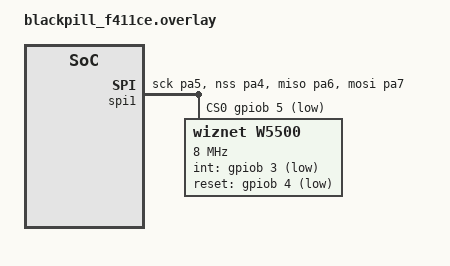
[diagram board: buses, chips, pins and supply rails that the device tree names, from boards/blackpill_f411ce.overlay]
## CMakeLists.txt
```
# SPDX-License-Identifier: Apache-2.0

cmake_minimum_required(VERSION 3.13.1)

find_package(Zephyr REQUIRED HINTS $ENV{ZEPHYR_BASE})
project(lightdb)

target_sources(app PRIVATE src/main.c)
```

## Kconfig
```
# Copyright (c) 2021 Golioth, Inc.
# SPDX-License-Identifier: Apache-2.0

mainmenu "Golioth application options"

if WIFI_ESP32

config ESP32_WIFI_SSID
	default GOLIOTH_SAMPLE_WIFI_SSID

config ESP32_WIFI_PASSWORD
	default GOLIOTH_SAMPLE_WIFI_PSK

endif # WIFI_ESP32

if DNS_RESOLVER

config DNS_SERVER_IP_ADDRESSES
	default y

config DNS_SERVER1
	default "1.1.1.1"

endif # DNS_RESOLVER

config GOLIOTH_SYSTEM_SERVER_HOST
	default "$(GOLIOTH_SYSTEM_SERVER_HOST)" if "$(GOLIOTH_SYSTEM_SERVER_HOST)" != ""

config GOLIOTH_SYSTEM_CLIENT_PSK_ID
	default "$(GOLIOTH_SYSTEM_CLIENT_PSK_ID)" if "$(GOLIOTH_SYSTEM_CLIENT_PSK_ID)" != ""

config GOLIOTH_SYSTEM_CLIENT_PSK
	default "$(GOLIOTH_SYSTEM_CLIENT_PSK)" if "$(GOLIOTH_SYSTEM_CLIENT_PSK)" != ""

source "Kconfig.zephyr"
```

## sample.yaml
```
sample:
  description: Send data to Golioth LightDB Stream
  name: lightdb stream
common:
  harness: pytest
  tags: golioth socket goliothd
  timeout: 180
tests:
  sample.golioth.lightdb_stream:
    platform_allow: >
      esp32
      mimxrt1060_evkb
      nrf52840dk_nrf52840
      nrf9160dk_nrf9160_ns
      qemu_x86
```

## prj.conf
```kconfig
CONFIG_GOLIOTH_SAMPLES_COMMON=y

# Logging
CONFIG_NET_LOG=y

# Network Shell
CONFIG_NET_SHELL=y

# Application
CONFIG_MINIMAL_LIBC_MALLOC_ARENA_SIZE=1024
```

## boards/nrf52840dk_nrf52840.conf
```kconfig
CONFIG_WIFI=y
CONFIG_WIFI_ESP_AT=y
CONFIG_WIFI_ESP_AT_MDM_RX_BUF_COUNT=40

CONFIG_NET_L2_WIFI_SHELL=y
CONFIG_GOLIOTH_SAMPLE_WIFI=y

CONFIG_SENSOR=y
CONFIG_TEMP_NRF5=y
```

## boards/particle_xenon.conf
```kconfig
# Ethernet Featherwing
CONFIG_SPI=y
CONFIG_ETH_W5500=y
CONFIG_ETH_W5500_TIMEOUT=1000
CONFIG_NET_L2_ETHERNET=y
CONFIG_NET_MGMT=y
CONFIG_NET_DHCPV4=y
```

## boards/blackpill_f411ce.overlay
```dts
&spi1 {
	pinctrl-0 = <&spi1_sck_pa5 &spi1_nss_pa4 &spi1_miso_pa6 &spi1_mosi_pa7>;
	status = "okay";
	cs-gpios = <&gpiob 5 GPIO_ACTIVE_LOW>; /* PB5 */

	w5500: w5500@0 {
		compatible = "wiznet,w5500";
		label = "w5500";
		status = "okay";
		reg = <0x0>;
		spi-max-frequency = <8000000>;
		int-gpios = <&gpiob 3 GPIO_ACTIVE_LOW>; /* PB3 */
		reset-gpios = <&gpiob 4 GPIO_ACTIVE_LOW>; /* PB4 */
	};
};
```

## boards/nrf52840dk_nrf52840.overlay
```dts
/*
 * Copyright (C) 2021 Golioth, Inc.
 *
 * SPDX-License-Identifier: Apache-2.0
 */

/ {
	aliases {
		temp0 = &temp;
	};
};

&uart1_default {
	cts-rts {
		psels = <NRF_PSEL(UART_CTS, 1, 3)>,
			<NRF_PSEL(UART_RTS, 1, 4)>;
	};
};

&uart1_sleep {
	cts-rts {
		psels = <NRF_PSEL(UART_CTS, 1, 3)>,
			<NRF_PSEL(UART_RTS, 1, 4)>;
		low-power-enable;
	};
};

&uart1 {
	status = "okay";
	hw-flow-control;

	esp_wifi: esp-wifi {
		compatible = "espressif,esp-at";
		power-gpios = <&gpio1 5 (GPIO_ACTIVE_HIGH | GPIO_OPEN_DRAIN)>;
		status = "okay";
	};
};
```

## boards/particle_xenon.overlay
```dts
&spi1 { /* feather SPI */
	compatible = "nordic,nrf-spim";
	status = "okay";
	sck-pin = <47>; /* D13 */
	mosi-pin = <45>; /* D14 */
	miso-pin = <46>; /* D11 */
	cs-gpios = <&gpio1 10 GPIO_ACTIVE_LOW>; /* D5 */

	w5500: w5500@0 {
		compatible = "wiznet,w5500";
		label = "w5500";
		status = "okay";
		reg = <0x0>;
		spi-max-frequency = <8000000>;
		int-gpios = <&gpio1 8 GPIO_ACTIVE_LOW>; /* D4 */
		reset-gpios = <&gpio1 2 GPIO_ACTIVE_LOW>; /* D3 */
	};
};
```

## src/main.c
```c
/*
 * Copyright (c) 2021 Golioth, Inc.
 *
 * SPDX-License-Identifier: Apache-2.0
 */

#include <zephyr/logging/log.h>
LOG_MODULE_REGISTER(golioth_lightdb_stream, LOG_LEVEL_DBG);

#include <net/golioth/system_client.h>
#include <samples/common/net_connect.h>
#include <zephyr/net/coap.h>

#include <zephyr/drivers/sensor.h>
#include <stdlib.h>

static struct golioth_client *client = GOLIOTH_SYSTEM_CLIENT_GET();

static K_SEM_DEFINE(connected, 0, 1);

static void golioth_on_connect(struct golioth_client *client)
{
	k_sem_give(&connected);
}

#if DT_NODE_HAS_STATUS(DT_ALIAS(temp0), okay)

static int get_temperature(struct sensor_value *val)
{
	const struct device *dev = DEVICE_DT_GET(DT_ALIAS(temp0));
	static const enum sensor_channel temp_channels[] = {
		SENSOR_CHAN_AMBIENT_TEMP,
		SENSOR_CHAN_DIE_TEMP,
	};
	int i;
	int err;

	err = sensor_sample_fetch(dev);
	if (err) {
		LOG_ERR("Failed to fetch temperature sensor: %d", err);
		return err;
	}

	for (i = 0; i < ARRAY_SIZE(temp_channels); i++) {
		err = sensor_channel_get(dev, temp_channels[i], val);
		if (err == -ENOTSUP) {
			/* try next channel */
			continue;
		} else if (err) {
			LOG_ERR("Failed to get temperature: %d", err);
			return err;
		}
	}

	return err;
}

#else

static int get_temperature(struct sensor_value *val)
{
	static int counter = 0;

	/* generate a temperature from 20 deg to 30 deg, with 0.5 deg step */

	val->val1 = 20 + counter / 2;
	val->val2 = counter % 2 == 1 ? 500000 : 0;

	counter = (counter + 1) % 20;

	return 0;
}

#endif

static int temperature_push_handler(struct golioth_req_rsp *rsp)
{
	if (rsp->err) {
		LOG_WRN("Failed to push temperature: %d", rsp->err);
		return rsp->err;
	}

	LOG_DBG("Temperature successfully pushed");

	return 0;
}

static void temperature_push_async(const struct sensor_value *temp)
{
	char sbuf[sizeof("-4294967295.123456")];
	int err;

	snprintk(sbuf, sizeof(sbuf), "%d.%06d", temp->val1, abs(temp->val2));

	err = golioth_stream_push_cb(client, "temp",
				     GOLIOTH_CONTENT_FORMAT_APP_JSON,
				     sbuf, strlen(sbuf),
				     temperature_push_handler, NULL);
	if (err) {
		LOG_WRN("Failed to push temperature: %d", err);
		return;
	}
}

static void temperature_push_sync(const struct sensor_value *temp)
{
	char sbuf[sizeof("-4294967295.123456")];
	int err;

	snprintk(sbuf, sizeof(sbuf), "%d.%06d", temp->val1, abs(temp->val2));

	err = golioth_stream_push(client, "temp",
				  GOLIOTH_CONTENT_FORMAT_APP_JSON,
				  sbuf, strlen(sbuf));
	if (err) {
		LOG_WRN("Failed to push temperature: %d", err);
		return;
	}

	LOG_DBG("Temperature successfully pushed");
}

int main(void)
{
	struct sensor_value temp;
	int err;

	LOG_DBG("Start LightDB Stream sample");

	net_connect();

	client->on_connect = golioth_on_connect;
	golioth_system_client_start();

	k_sem_take(&connected, K_FOREVER);

	while (true) {
		/* Synchronous */
		err = get_temperature(&temp);
		if (err) {
			k_sleep(K_SECONDS(1));
			continue;
		}

		LOG_DBG("Sending temperature %d.%06d", temp.val1, abs(temp.val2));

		temperature_push_sync(&temp);

		k_sleep(K_SECONDS(5));

		/* Callback-based */
		err = get_temperature(&temp);
		if (err) {
			k_sleep(K_SECONDS(1));
			continue;
		}

		LOG_DBG("Sending temperature %d.%06d", temp.val1, abs(temp.val2));

		temperature_push_async(&temp);

		k_sleep(K_SECONDS(5));
	}

	return 0;
}
```
